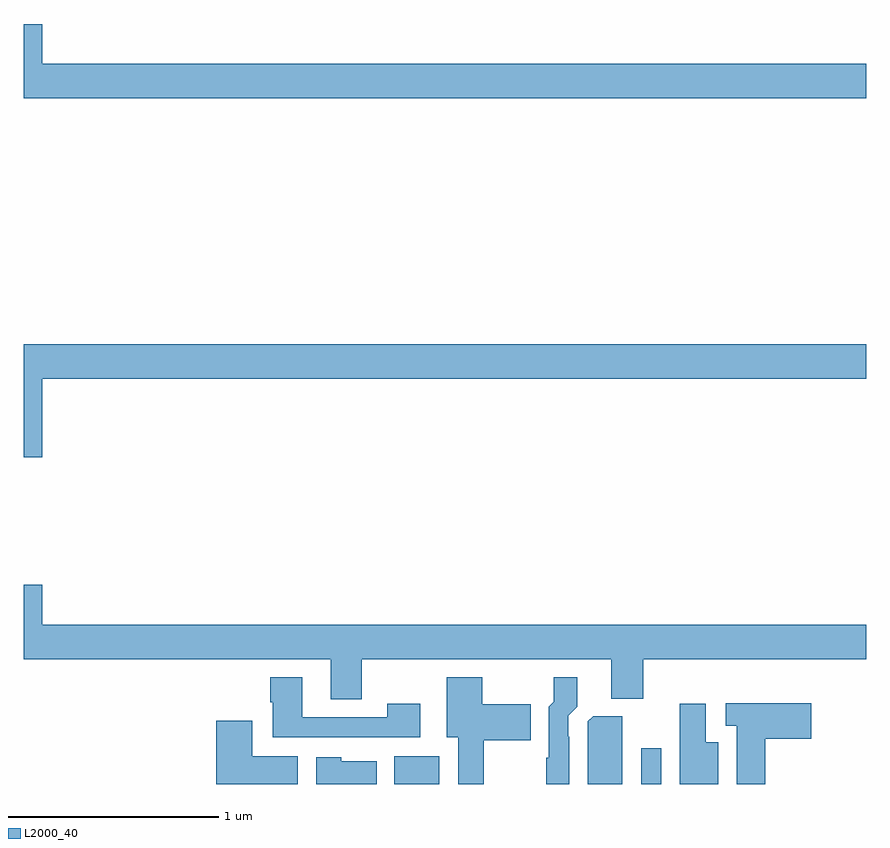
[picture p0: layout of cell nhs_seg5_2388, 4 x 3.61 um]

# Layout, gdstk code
import gdstk
lib = gdstk.Library(unit=1e-6, precision=1e-09)
def R(c, l, rs):  # rectangles x0, y0, x1, y1
    for r in rs: c.add(gdstk.rectangle(r[:2], r[2:], *l))
def P(c, l, *ps):  # polygons
    for p in ps: c.add(gdstk.Polygon(p, *l))
L2000_40 = (2000, 40)

nhs_seg5_2388 = lib.new_cell('nhs_seg5_2388')
R(nhs_seg5_2388, L2000_40, [(250.76,890.799,250.972,890.932), (251.931,890.799,252.027,890.968)])
P(nhs_seg5_2388, L2000_40, [(253,894.22),(249.088,894.22),(249.088,894.409),(249,894.409),(249,894.056),(253,894.056)],
  [(249.088,892.724),(253,892.724),(253,892.888),(249,892.888),(249,892.35),(249.088,892.35)],
  [(250.605,891.392),(251.789,891.392),(251.789,891.205),(251.942,891.205),(251.942,891.392),(253,891.392),(253,891.556),(249.088,891.556),(249.088,891.745),(249,891.745),(249,891.392),(250.457,891.392),(250.457,891.202),(250.605,891.202)],
  [(251.589,891.023),(251.586,891.023),(251.586,891.123),(251.629,891.166),(251.629,891.307),(251.517,891.307),(251.517,891.19),(251.493,891.167),(251.493,890.924),(251.481,890.924),(251.481,890.799),(251.589,890.799)],
  [(250.882,891.181),(250.726,891.181),(250.726,891.117),(250.321,891.117),(250.321,891.307),(250.169,891.307),(250.169,891.187),(250.181,891.187),(250.181,891.021),(250.882,891.021)],
  [(251.184,891.008),(251.407,891.008),(251.407,891.178),(251.176,891.178),(251.176,891.307),(251.009,891.307),(251.009,891.02),(251.063,891.02),(251.063,890.799),(251.184,890.799)],
  [(252.521,891.014),(252.739,891.014),(252.739,891.183),(252.333,891.183),(252.333,891.075),(252.386,891.075),(252.386,890.799),(252.521,890.799)],
  [(252.298,890.998),(252.238,890.998),(252.238,891.181),(252.116,891.181),(252.116,890.799),(252.298,890.799)],
  [(251.841,890.905),(251.842,890.905),(251.842,891.12),(251.703,891.12),(251.679,891.096),(251.679,890.799),(251.841,890.799)],
  [(250.3,890.932),(250.084,890.932),(250.084,891.1),(249.914,891.1),(249.914,890.799),(250.3,890.799)],
  [(250.675,890.908),(250.506,890.908),(250.506,890.926),(250.388,890.926),(250.388,890.799),(250.675,890.799)])

lib.write_gds('nhs_seg5_2388.gds')
